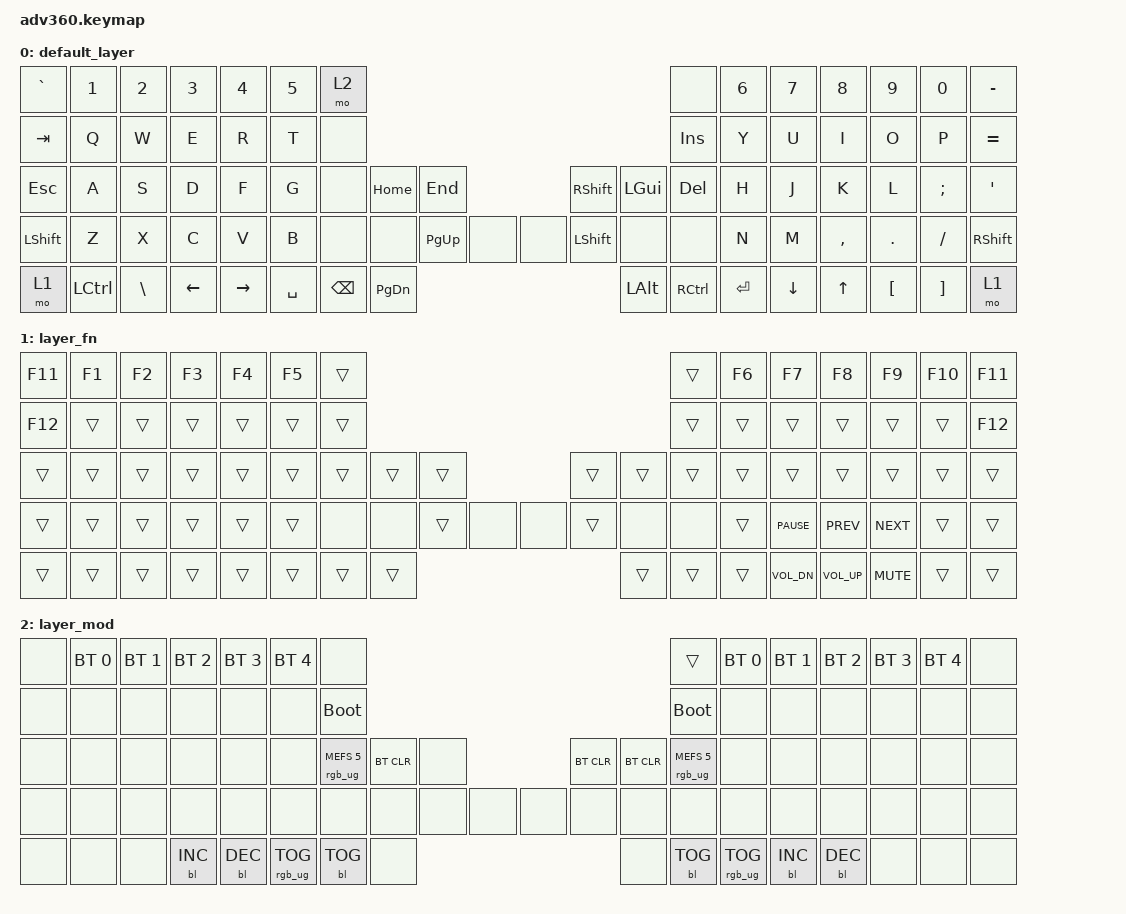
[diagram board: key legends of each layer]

/*
 * Copyright (c) 2020 The ZMK Contributors
 *
 * SPDX-License-Identifier: MIT
 */


/* THIS FILE WAS GENERATED!
 *
 * This file was generated automatically. You may or may not want to
 * edit it directly.
 */

#include <behaviors.dtsi>
#include <dt-bindings/zmk/keys.h>
#include <dt-bindings/zmk/bt.h>
#include <dt-bindings/zmk/rgb.h>
#include <dt-bindings/zmk/backlight.h>

/ {
  behaviors {
    #include "macros.dtsi"

    hm: homerow_mods {
        compatible = "zmk,behavior-hold-tap";
        label = "HOMEROW_MODS";
        #binding-cells = <2>;
        tapping-term-ms = <200>;
        quick_tap_ms = <175>;
        flavor = "tap-preferred";
        bindings = <&kp>, <&kp>;
    };
  };

    keymap {
        compatible = "zmk,keymap";


        default_layer {
            bindings = <
 &kp GRAVE     &kp N1    &kp N2    &kp N3     &kp N4  &kp N5                &mo 2                                                                  &none  &kp N6    &kp N7     &kp N8    &kp N9    &kp N0  &kp MINUS
   &kp TAB      &kp Q     &kp W     &kp E      &kp R   &kp T                &none                                                             &kp INSERT   &kp Y     &kp U      &kp I     &kp O     &kp P  &kp EQUAL
   &kp ESC      &kp A     &kp S     &kp D      &kp F   &kp G                &none  &kp HOME    &kp END                  &kp RSHFT   &kp LGUI     &kp DEL   &kp H     &kp J      &kp K     &kp L  &kp SEMI    &kp SQT
 &kp LSHFT      &kp Z     &kp X     &kp C      &kp V   &kp B                &none     &none  &kp PG_UP   &none   &none  &kp LSHFT      &none       &none   &kp N     &kp M  &kp COMMA   &kp DOT  &kp FSLH  &kp RSHFT
     &mo 1  &kp LCTRL  &kp BSLH  &kp LEFT  &kp RIGHT                    &kp SPACE  &kp BSPC  &kp PG_DN                   &kp LALT  &kp RCTRL   &kp ENTER          &kp DOWN     &kp UP  &kp LBKT  &kp RBKT      &mo 1
            >;
        };

        layer_fn {
            bindings = <
 &kp F11  &kp F1  &kp F2  &kp F3  &kp F4  &kp F5            &trans                                                  &trans  &kp F6        &kp F7        &kp F8      &kp F9  &kp F10  &kp F11
 &kp F12  &trans  &trans  &trans  &trans  &trans            &trans                                                  &trans  &trans        &trans        &trans      &trans   &trans  &kp F12
  &trans  &trans  &trans  &trans  &trans  &trans            &trans  &trans  &trans                  &trans  &trans  &trans  &trans        &trans        &trans      &trans   &trans   &trans
  &trans  &trans  &trans  &trans  &trans  &trans             &none   &none  &trans   &none   &none  &trans   &none   &none  &trans   &kp C_PAUSE    &kp C_PREV  &kp C_NEXT   &trans   &trans
  &trans  &trans  &trans  &trans  &trans                    &trans  &trans  &trans                  &trans  &trans  &trans          &kp C_VOL_DN  &kp C_VOL_UP  &kp C_MUTE   &trans   &trans
            >;
        };

        layer_mod {
            bindings = <
  &none  &bt BT_SEL 0  &bt BT_SEL 1  &bt BT_SEL 2  &bt BT_SEL 3  &bt BT_SEL 4                             &none                                                                              &trans  &bt BT_SEL 0  &bt BT_SEL 1  &bt BT_SEL 2  &bt BT_SEL 3  &bt BT_SEL 4   &none
  &none         &none         &none         &none         &none         &none                       &bootloader                                                                         &bootloader         &none         &none         &none         &none         &none   &none
  &none         &none         &none         &none         &none         &none            &rgb_ug RGB_MEFS_CMD 5  &bt BT_CLR   &none                  &bt BT_CLR  &bt BT_CLR  &rgb_ug RGB_MEFS_CMD 5         &none         &none         &none         &none         &none   &none
  &none         &none         &none         &none         &none         &none                             &none       &none   &none   &none   &none       &none       &none                   &none         &none         &none         &none         &none         &none   &none
  &none         &none         &none    &bl BL_INC    &bl BL_DEC                                 &rgb_ug RGB_TOG  &bl BL_TOG   &none                       &none  &bl BL_TOG         &rgb_ug RGB_TOG                  &bl BL_INC    &bl BL_DEC         &none         &none   &none
            >;
        };

    };
};
